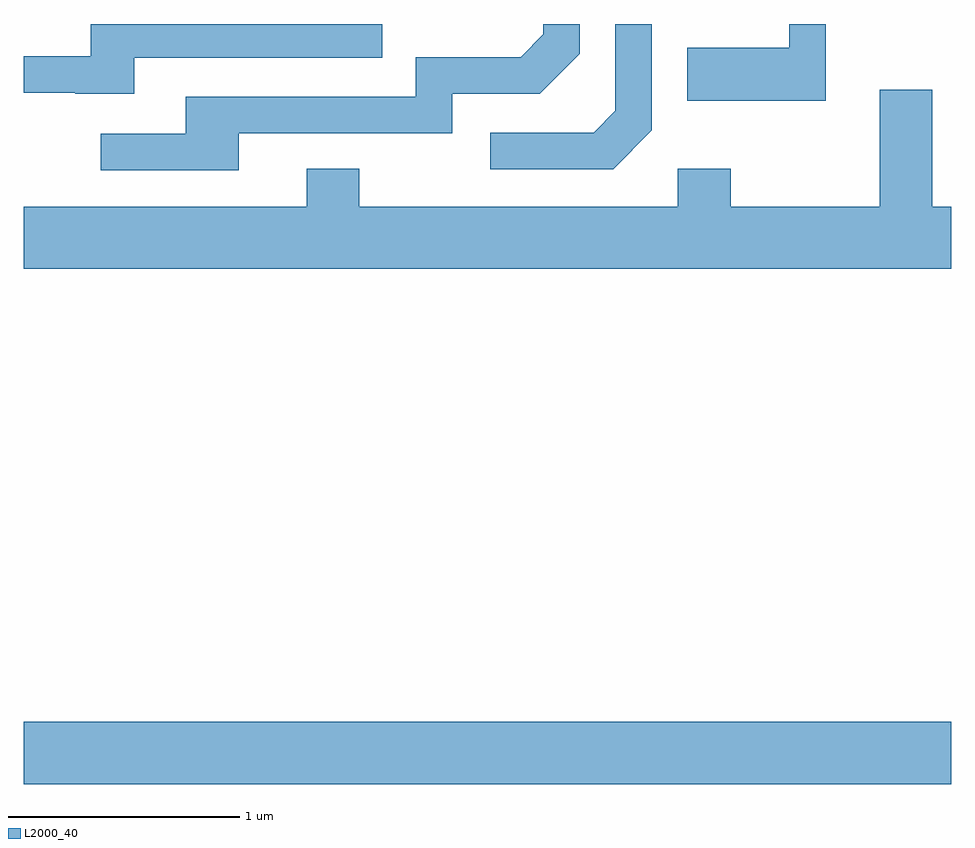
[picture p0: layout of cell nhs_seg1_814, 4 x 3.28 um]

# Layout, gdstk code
import gdstk
lib = gdstk.Library(unit=1e-6, precision=1e-09)
def R(c, l, rs):  # rectangles x0, y0, x1, y1
    for r in rs: c.add(gdstk.rectangle(r[:2], r[2:], *l))
def P(c, l, *ps):  # polygons
    for p in ps: c.add(gdstk.Polygon(p, *l))
L2000_40 = (2000, 40)

nhs_seg1_814 = lib.new_cell('nhs_seg1_814')
R(nhs_seg1_814, L2000_40, [(209.611,928.436,213.611,928.704)])
P(nhs_seg1_814, L2000_40, [(213.069,931.712),(212.911,931.712),(212.911,931.609),(212.471,931.609),(212.471,931.381),(213.069,931.381)],
  [(212.319,931.254),(212.319,931.712),(212.161,931.712),(212.161,931.337),(212.069,931.244),(211.623,931.244),(211.623,931.086),(212.152,931.086)],
  [(210.539,931.241),(211.459,931.241),(211.459,931.411),(211.837,931.411),(212.009,931.584),(212.009,931.712),(211.851,931.712),(211.851,931.667),(211.754,931.569),(211.301,931.569),(211.301,931.399),(210.311,931.399),(210.311,931.239),(209.943,931.239),(209.943,931.081),(210.539,931.081)],
  [(210.089,931.566),(211.158,931.566),(211.158,931.712),(209.901,931.712),(209.901,931.574),(209.611,931.574),(209.611,931.416),(209.835,931.416),(209.835,931.411),(210.089,931.411)],
  [(213.611,930.924),(213.529,930.924),(213.529,931.429),(213.301,931.429),(213.301,930.924),(212.659,930.924),(212.659,931.089),(212.431,931.089),(212.431,930.924),(211.059,930.924),(211.059,931.089),(210.831,931.089),(210.831,930.924),(209.611,930.924),(209.611,930.656),(213.611,930.656)])

lib.write_gds('nhs_seg1_814.gds')
